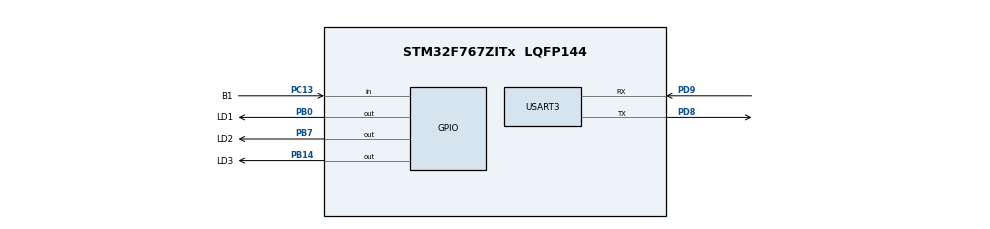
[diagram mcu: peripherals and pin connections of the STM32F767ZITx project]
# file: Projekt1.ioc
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CORTEX_M7.default_mode_Activation=1
Mcu.Family=STM32F7
Mcu.Name=STM32F767ZITx
Mcu.Package=LQFP144
NVIC.PriorityGroup=NVIC_PRIORITYGROUP_4
PA13.Mode=Serial_Wire
PA13.Signal=SYS_JTMS-SWDIO
PA14.Mode=Serial_Wire
PA14.Signal=SYS_JTCK-SWCLK
PB0.GPIO_Label=LD1
PB0.Signal=GPIO_Output
PB14.GPIO_Label=LD3
PB14.Signal=GPIO_Output
PB7.GPIO_Label=LD2
PB7.Signal=GPIO_Output
PC13.GPIO_Label=B1
PC13.Signal=GPIO_Input
PD8.Mode=Asynchronous
PD8.Signal=USART3_TX
PD9.Mode=Asynchronous
PD9.Signal=USART3_RX
ProjectManager.HeapSize=0x200
ProjectManager.StackSize=0x400
ProjectManager.TargetToolchain=STM32CubeIDE
RCC.HSE_VALUE=25000000
RCC.HSI_VALUE=16000000
RCC.LSE_VALUE=32768
RCC.USBFreq_Value=96000000
RCC.VCOOutputFreq_Value=192000000
USART3.OverrunDisableParam=ADVFEATURE_OVERRUN_DISABLE
USART3.VirtualMode-Asynchronous=VM_ASYNC
board=custom

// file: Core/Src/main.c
/* USER CODE BEGIN Header */
/**
  ******************************************************************************
  * @file           : main.c
  * @brief          : Main program body
  ******************************************************************************
  * @attention
  *
  * Copyright (c) 2024 STMicroelectronics.
  * All rights reserved.
  *
  * This software is licensed under terms that can be found in the LICENSE file
  * in the root directory of this software component.
  * If no LICENSE file comes with this software, it is provided AS-IS.
  *
  ******************************************************************************
  */
/* USER CODE END Header */
#include "main.h"

/* USER CODE BEGIN Includes */
#include <string.h>
#include <stdio.h>
/* USER CODE END Includes */

UART_HandleTypeDef huart3;

void SystemClock_Config(void);
static void MPU_Config(void);
static void MX_GPIO_Init(void);
static void MX_USART3_UART_Init(void);

/* USER CODE BEGIN 0 */
uint8_t klik = 0;
int __io_putchar(int ch)
{
    if (ch == '\n') {
        uint8_t ch2 = '\r';
        HAL_UART_Transmit(&huart3, &ch2, 1, HAL_MAX_DELAY);
    }

    HAL_UART_Transmit(&huart3, (uint8_t*)&ch, 1, HAL_MAX_DELAY);
    return 1;
}

#define LINE_MAX_LENGTH	80

	static char line_buffer[LINE_MAX_LENGTH + 1];
	static uint32_t line_length;

	void klikniecie(uint8_t *klik)
	{
		if (HAL_GPIO_ReadPin(B1_GPIO_Port, B1_Pin) == GPIO_PIN_SET){
			 (*klik)++;

		}
	}

	void line_append(uint8_t value)
	{
		if (value == '\r' || value == '\n') {
			// odebraliśmy znak końca linii
			if (line_length > 0) {
				// dodajemy 0 na końcu linii
				line_buffer[line_length] = '\0';
				// przetwarzamy dane
				if (strcmp(line_buffer, "wlacz") == 0) {

					HAL_GPIO_WritePin(LD2_GPIO_Port, LD2_Pin, GPIO_PIN_SET);
				} else if (strcmp(line_buffer, "wylacz") == 0) {
					HAL_GPIO_WritePin(LD1_GPIO_Port, LD1_Pin, GPIO_PIN_RESET);
					HAL_GPIO_WritePin(LD2_GPIO_Port, LD2_Pin, GPIO_PIN_RESET);
					HAL_GPIO_WritePin(LD3_GPIO_Port, LD3_Pin, GPIO_PIN_RESET);
				} else if (strcmp(line_buffer, "ania") == 0) {
					HAL_GPIO_WritePin(LD1_GPIO_Port, LD1_Pin, GPIO_PIN_SET);
					HAL_GPIO_WritePin(LD2_GPIO_Port, LD2_Pin, GPIO_PIN_SET);
					HAL_GPIO_WritePin(LD3_GPIO_Port, LD3_Pin, GPIO_PIN_SET);
				}
				} else {
					printf("Nieznane polecenie: %s\n", line_buffer);
				}
				// zaczynamy zbieranie danych od nowa
				line_length = 0;
			}

		else {
			if (line_length >= LINE_MAX_LENGTH) {
				// za dużo danych, usuwamy wszystko co odebraliśmy dotychczas
				line_length = 0;
			}
			// dopisujemy wartość do bufora
			line_buffer[line_length++] = value;
		}
	}
/* USER CODE END 0 */

int main(void)
{

  /* MPU Configuration--------------------------------------------------------*/
  MPU_Config();

  /* MCU Configuration--------------------------------------------------------*/

  /* Reset of all peripherals, Initializes the Flash interface and the Systick. */
  HAL_Init();

  /* Configure the system clock */
  SystemClock_Config();

  /* Initialize all configured peripherals */
  MX_GPIO_Init();
  MX_USART3_UART_Init();
  /* USER CODE BEGIN 2 */
 /* const char message[] = "Kocham moja Anie <3!\r\n";
  HAL_UART_Transmit(&huart3, (uint8_t*)message, strlen(message), HAL_MAX_DELAY);
  */
  float pi = 3.14;
  printf("Liczba pi to: %f\n", pi);
  fflush(stdout);
  /* USER CODE END 2 */

  /* Infinite loop */
  /* USER CODE BEGIN WHILE */
  while (1)
  {
	  	  klikniecie(&klik);
	  	  if (HAL_GPIO_ReadPin(B1_GPIO_Port, B1_Pin) == GPIO_PIN_SET){
	  		  printf("Klikniecia: %d\n\r", klik);
	  		  fflush(stdout);
	  		  HAL_Delay(500);
	  	  } else if (klik >= 10){
	  		  HAL_GPIO_WritePin(LD3_GPIO_Port, LD3_Pin, GPIO_PIN_SET);
	  	  }
	/*  	  if (HAL_UART_Receive(&huart3, &value, 1, 0) == HAL_OK)
  		  line_append(value);

	  if (HAL_GPIO_ReadPin(B1_GPIO_Port, B1_Pin) == GPIO_PIN_SET) {
		  HAL_GPIO_WritePin(LD1_GPIO_Port, LD1_Pin, GPIO_PIN_SET);
		  HAL_Delay(500);
		  HAL_GPIO_WritePin(LD2_GPIO_Port, LD2_Pin, GPIO_PIN_SET);
		  HAL_Delay(500);
		  HAL_GPIO_WritePin(LD3_GPIO_Port, LD3_Pin, GPIO_PIN_SET);

	  } else {
		  HAL_GPIO_WritePin(LD3_GPIO_Port, LD3_Pin, GPIO_PIN_RESET);
		  HAL_Delay(500);
		  HAL_GPIO_WritePin(LD2_GPIO_Port, LD2_Pin, GPIO_PIN_RESET);
		  HAL_Delay(500);
		  HAL_GPIO_WritePin(LD1_GPIO_Port, LD1_Pin, GPIO_PIN_RESET);
	  }
    /* USER CODE END WHILE */

  }
}

void SystemClock_Config(void)
{
  RCC_OscInitTypeDef RCC_OscInitStruct = {0};
  RCC_ClkInitTypeDef RCC_ClkInitStruct = {0};

  /** Configure the main internal regulator output voltage
  */
  __HAL_RCC_PWR_CLK_ENABLE();
  __HAL_PWR_VOLTAGESCALING_CONFIG(PWR_REGULATOR_VOLTAGE_SCALE3);

  /** Initializes the RCC Oscillators according to the specified parameters
  * in the RCC_OscInitTypeDef structure.
  */
  RCC_OscInitStruct.OscillatorType = RCC_OSCILLATORTYPE_HSI;
  RCC_OscInitStruct.HSIState = RCC_HSI_ON;
  RCC_OscInitStruct.HSICalibrationValue = RCC_HSICALIBRATION_DEFAULT;
  RCC_OscInitStruct.PLL.PLLState = RCC_PLL_NONE;
  if (HAL_RCC_OscConfig(&RCC_OscInitStruct) != HAL_OK)
  {
    Error_Handler();
  }

  /** Initializes the CPU, AHB and APB buses clocks
  */
  RCC_ClkInitStruct.ClockType = RCC_CLOCKTYPE_HCLK|RCC_CLOCKTYPE_SYSCLK
                              |RCC_CLOCKTYPE_PCLK1|RCC_CLOCKTYPE_PCLK2;
  RCC_ClkInitStruct.SYSCLKSource = RCC_SYSCLKSOURCE_HSI;
  RCC_ClkInitStruct.AHBCLKDivider = RCC_SYSCLK_DIV1;
  RCC_ClkInitStruct.APB1CLKDivider = RCC_HCLK_DIV1;
  RCC_ClkInitStruct.APB2CLKDivider = RCC_HCLK_DIV1;

  if (HAL_RCC_ClockConfig(&RCC_ClkInitStruct, FLASH_LATENCY_0) != HAL_OK)
  {
    Error_Handler();
  }
}

static void MX_USART3_UART_Init(void)
{

  huart3.Instance = USART3;
  huart3.Init.BaudRate = 115200;
  huart3.Init.WordLength = UART_WORDLENGTH_8B;
  huart3.Init.StopBits = UART_STOPBITS_1;
  huart3.Init.Parity = UART_PARITY_NONE;
  huart3.Init.Mode = UART_MODE_TX_RX;
  huart3.Init.HwFlowCtl = UART_HWCONTROL_NONE;
  huart3.Init.OverSampling = UART_OVERSAMPLING_16;
  huart3.Init.OneBitSampling = UART_ONE_BIT_SAMPLE_DISABLE;
  huart3.AdvancedInit.AdvFeatureInit = UART_ADVFEATURE_RXOVERRUNDISABLE_INIT;
  huart3.AdvancedInit.OverrunDisable = UART_ADVFEATURE_OVERRUN_DISABLE;
  if (HAL_UART_Init(&huart3) != HAL_OK)
  {
    Error_Handler();
  }

}

static void MX_GPIO_Init(void)
{
  GPIO_InitTypeDef GPIO_InitStruct = {0};

  /* GPIO Ports Clock Enable */
  __HAL_RCC_GPIOC_CLK_ENABLE();
  __HAL_RCC_GPIOB_CLK_ENABLE();
  __HAL_RCC_GPIOD_CLK_ENABLE();
  __HAL_RCC_GPIOA_CLK_ENABLE();

  /*Configure GPIO pin Output Level */
  HAL_GPIO_WritePin(GPIOB, LD1_Pin|LD3_Pin|LD2_Pin, GPIO_PIN_RESET);

  /*Configure GPIO pin : B1_Pin */
  GPIO_InitStruct.Pin = B1_Pin;
  GPIO_InitStruct.Mode = GPIO_MODE_INPUT;
  GPIO_InitStruct.Pull = GPIO_NOPULL;
  HAL_GPIO_Init(B1_GPIO_Port, &GPIO_InitStruct);

  /*Configure GPIO pins : LD1_Pin LD3_Pin LD2_Pin */
  GPIO_InitStruct.Pin = LD1_Pin|LD3_Pin|LD2_Pin;
  GPIO_InitStruct.Mode = GPIO_MODE_OUTPUT_PP;
  GPIO_InitStruct.Pull = GPIO_NOPULL;
  GPIO_InitStruct.Speed = GPIO_SPEED_FREQ_LOW;
  HAL_GPIO_Init(GPIOB, &GPIO_InitStruct);

}

 /* MPU Configuration */

void MPU_Config(void)
{
  MPU_Region_InitTypeDef MPU_InitStruct = {0};

  /* Disables the MPU */
  HAL_MPU_Disable();

  /** Initializes and configures the Region and the memory to be protected
  */
  MPU_InitStruct.Enable = MPU_REGION_ENABLE;
  MPU_InitStruct.Number = MPU_REGION_NUMBER0;
  MPU_InitStruct.BaseAddress = 0x0;
  MPU_InitStruct.Size = MPU_REGION_SIZE_4GB;
  MPU_InitStruct.SubRegionDisable = 0x87;
  MPU_InitStruct.TypeExtField = MPU_TEX_LEVEL0;
  MPU_InitStruct.AccessPermission = MPU_REGION_NO_ACCESS;
  MPU_InitStruct.DisableExec = MPU_INSTRUCTION_ACCESS_DISABLE;
  MPU_InitStruct.IsShareable = MPU_ACCESS_SHAREABLE;
  MPU_InitStruct.IsCacheable = MPU_ACCESS_NOT_CACHEABLE;
  MPU_InitStruct.IsBufferable = MPU_ACCESS_NOT_BUFFERABLE;

  HAL_MPU_ConfigRegion(&MPU_InitStruct);
  /* Enables the MPU */
  HAL_MPU_Enable(MPU_PRIVILEGED_DEFAULT);

}

void Error_Handler(void)
{
  __disable_irq();
  while (1)
  {
  }
}
